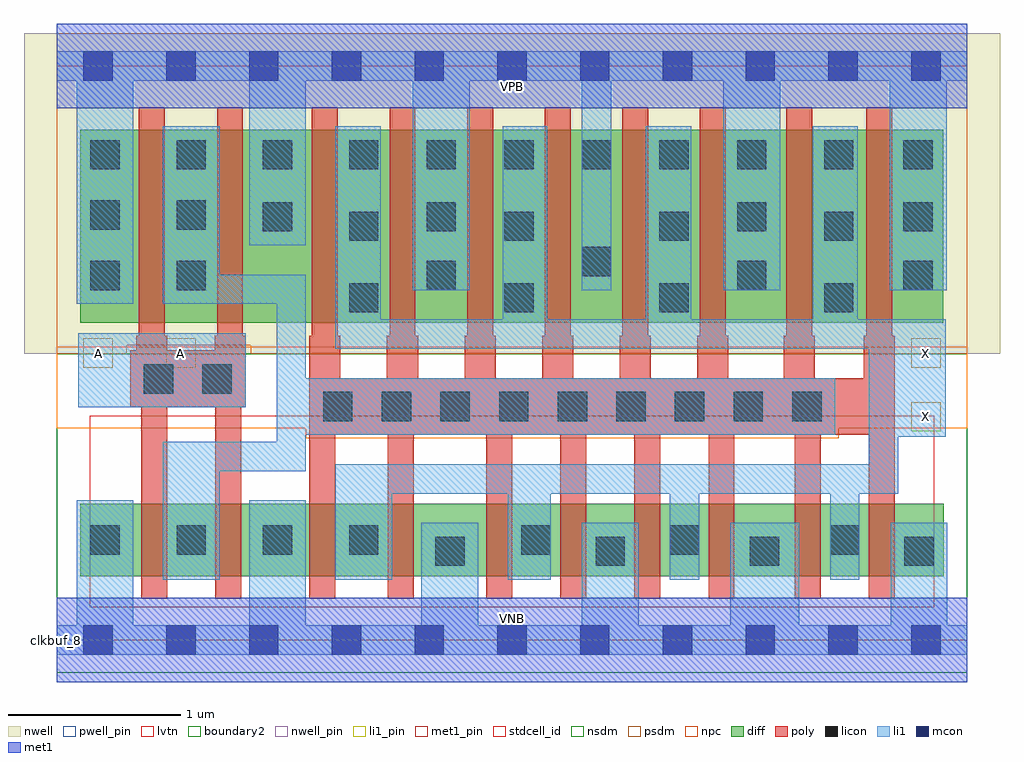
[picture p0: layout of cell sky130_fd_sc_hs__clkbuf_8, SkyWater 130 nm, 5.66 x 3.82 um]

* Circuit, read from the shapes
.subckt sky130_fd_sc_hs__clkbuf_8 A VGND VNB VPB VPWR X
XM1 n1 A VGND VNB sky130_fd_pr__nfet_01v8_lvt w=0.42 l=0.15 m=2
XM2 X n1 VGND VNB sky130_fd_pr__nfet_01v8_lvt w=0.42 l=0.15 m=8
XM3 n1 A VPWR VPB sky130_fd_pr__pfet_01v8 w=1.12 l=0.15 m=2
XM4 X n1 VPWR VPB sky130_fd_pr__pfet_01v8 w=1.12 l=0.15 m=8
.ends

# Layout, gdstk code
import gdstk
lib = gdstk.Library(unit=1e-6, precision=1e-09)
def R(c, l, rs):  # rectangles x0, y0, x1, y1
    for r in rs: c.add(gdstk.rectangle(r[:2], r[2:], *l))
def A(c, l, x, y, w, h, nx, ny, dx, dy):  # array of equal rectangles
    R(c, l, [(x+i*dx, y+j*dy, x+i*dx+w, y+j*dy+h) for i in range(nx) for j in range(ny)])
def P(c, l, *ps):  # polygons
    for p in ps: c.add(gdstk.Polygon(p, *l))
nwell_pin = (64, 16)
nwell = (64, 20)
diff = (65, 20)
poly = (66, 20)
licon = (66, 44)
li1_pin = (67, 16)
li1 = (67, 20)
mcon = (67, 44)
met1_pin = (68, 16)
met1 = (68, 20)
stdcell_id = (81, 4)
nsdm = (93, 44)
psdm = (94, 20)
npc = (95, 20)
pwell_pin = (122, 16)
lvtn = (125, 44)
boundary2 = (236, 0)

sky130_fd_sc_hs__clkbuf_ = lib.new_cell('sky130_fd_sc_hs__clkbuf_8')
R(sky130_fd_sc_hs__clkbuf_, nwell_pin, [(0,3.085,5.28,3.33)])
R(sky130_fd_sc_hs__clkbuf_, nwell, [(-0.19,1.66,5.47,3.52)])
R(sky130_fd_sc_hs__clkbuf_, diff, [(0.135,0.37,5.145,0.79), (0.135,1.84,5.14,2.96)])
P(sky130_fd_sc_hs__clkbuf_, poly, [(1.095,1.765),(1.08,1.765),(1.08,3.09),(0.93,3.09),(0.93,1.765),(0.915,1.765),(0.915,1.68),(0.64,1.68),(0.64,1.765),(0.625,1.765),(0.625,3.09),(0.475,3.09),(0.475,1.765),(0.46,1.765),(0.46,1.68),(0.425,1.68),(0.425,1.35),(0.49,1.35),(0.49,0.24),(0.64,0.24),(0.64,1.35),(0.92,1.35),(0.92,0.24),(1.07,0.24),(1.07,1.35),(1.095,1.35)],
  [(4.86,1.765),(4.845,1.765),(4.845,3.09),(4.695,3.09),(4.695,1.765),(4.68,1.765),(4.68,1.52),(4.395,1.52),(4.395,1.765),(4.38,1.765),(4.38,3.09),(4.23,3.09),(4.23,1.765),(4.215,1.765),(4.215,1.52),(3.895,1.52),(3.895,1.765),(3.88,1.765),(3.88,3.09),(3.73,3.09),(3.73,1.765),(3.715,1.765),(3.715,1.52),(3.445,1.52),(3.445,1.765),(3.43,1.765),(3.43,3.09),(3.28,3.09),(3.28,1.765),(3.265,1.765),(3.265,1.52),(2.995,1.52),(2.995,1.765),(2.98,1.765),(2.98,3.09),(2.83,3.09),(2.83,1.765),(2.815,1.765),(2.815,1.52),(2.545,1.52),(2.545,1.765),(2.53,1.765),(2.53,3.09),(2.38,3.09),(2.38,1.765),(2.365,1.765),(2.365,1.52),(2.095,1.52),(2.095,1.765),(2.08,1.765),(2.08,3.09),(1.93,3.09),(1.93,1.765),(1.915,1.765),(1.915,1.52),(1.645,1.52),(1.645,1.765),(1.63,1.765),(1.63,3.09),(1.48,3.09),(1.48,1.765),(1.465,1.765),(1.465,0.24),(1.615,0.24),(1.615,1.19),(1.92,1.19),(1.92,0.24),(2.07,0.24),(2.07,1.19),(2.49,1.19),(2.49,0.24),(2.64,0.24),(2.64,1.19),(2.92,1.19),(2.92,0.24),(3.07,0.24),(3.07,1.19),(3.35,1.19),(3.35,0.24),(3.5,0.24),(3.5,1.19),(3.78,1.19),(3.78,0.24),(3.93,0.24),(3.93,1.19),(4.28,1.19),(4.28,0.24),(4.43,0.24),(4.43,1.19),(4.71,1.19),(4.71,0.24),(4.86,0.24)])
A(sky130_fd_sc_hs__clkbuf_, licon, 3.125, 0.43, 0.17, 0.17, 3, 1, 0.895, 0)
A(sky130_fd_sc_hs__clkbuf_, licon, 0.195, 0.495, 0.17, 0.17, 4, 2, 0.5, 2.235)
A(sky130_fd_sc_hs__clkbuf_, licon, 1.545, 1.27, 0.17, 0.17, 9, 1, 0.34, 0)
A(sky130_fd_sc_hs__clkbuf_, licon, 1.695, 1.9, 0.17, 0.17, 3, 2, 0.9, 0.415)
A(sky130_fd_sc_hs__clkbuf_, licon, 4.45, 1.9, 0.17, 0.17, 1, 3, 0, 0.415)
A(sky130_fd_sc_hs__clkbuf_, licon, 2.145, 2.73, 0.17, 0.17, 5, 1, 0.45, 0)
R(sky130_fd_sc_hs__clkbuf_, licon, [(2.195,0.43,2.365,0.6), (2.695,0.495,2.865,0.665), (3.555,0.495,3.725,0.665), (4.485,0.495,4.655,0.665), (0.505,1.43,0.675,1.6), (0.845,1.43,1.015,1.6), (0.195,2.03,0.365,2.2), (0.695,2.03,0.865,2.2), (2.145,2.03,2.315,2.2), (3.945,2.03,4.115,2.2), (4.91,2.03,5.08,2.2), (3.045,2.11,3.215,2.28), (1.195,2.37,1.365,2.54), (2.145,2.37,2.315,2.54), (3.945,2.37,4.115,2.54), (4.91,2.37,5.08,2.54), (0.195,2.38,0.365,2.55), (0.695,2.38,0.865,2.55), (4.91,2.73,5.08,2.9)])
R(sky130_fd_sc_hs__clkbuf_, li1_pin, [(4.955,1.21,5.125,1.38), (0.155,1.58,0.325,1.75), (0.635,1.58,0.805,1.75), (4.955,1.58,5.125,1.75)])
R(sky130_fd_sc_hs__clkbuf_, li1, [(0.125,1.35,1.095,1.78)])
P(sky130_fd_sc_hs__clkbuf_, li1, [(0,-0.085),(0,0.085),(0.115,0.085),(0.115,0.81),(0.445,0.81),(0.445,0.085),(1.115,0.085),(1.115,0.81),(1.445,0.81),(1.445,0.085),(2.115,0.085),(2.115,0.68),(2.445,0.68),(2.445,0.085),(3.045,0.085),(3.045,0.68),(3.375,0.68),(3.375,0.085),(3.905,0.085),(3.905,0.68),(4.305,0.68),(4.305,0.085),(4.835,0.085),(4.835,0.68),(5.165,0.68),(5.165,0.085),(5.28,0.085),(5.28,-0.085)],
  [(0,3.245),(0,3.415),(5.28,3.415),(5.28,3.245),(5.16,3.245),(5.16,2.03),(4.83,2.03),(4.83,3.245),(4.195,3.245),(4.195,2.03),(3.865,2.03),(3.865,3.245),(3.215,3.245),(3.215,2.03),(3.045,2.03),(3.045,3.245),(2.395,3.245),(2.395,2.03),(2.065,2.03),(2.065,3.245),(1.445,3.245),(1.445,2.29),(1.115,2.29),(1.115,3.245),(0.445,3.245),(0.445,1.95),(0.115,1.95),(0.115,3.245)],
  [(4.71,1.02),(4.71,1.69),(1.615,1.69),(1.615,2.98),(1.88,2.98),(1.88,1.86),(2.585,1.86),(2.585,2.98),(2.845,2.98),(2.845,1.86),(3.415,1.86),(3.415,2.98),(3.68,2.98),(3.68,1.86),(4.385,1.86),(4.385,2.98),(4.645,2.98),(4.645,1.86),(5.155,1.86),(5.155,1.18),(4.88,1.18),(4.88,0.85),(4.655,0.85),(4.655,0.35),(4.485,0.35),(4.485,0.85),(3.725,0.85),(3.725,0.35),(3.555,0.35),(3.555,0.85),(2.865,0.85),(2.865,0.35),(2.615,0.35),(2.615,0.85),(1.945,0.85),(1.945,0.35),(1.615,0.35),(1.615,1.02)],
  [(0.615,1.15),(1.275,1.15),(1.275,1.95),(0.615,1.95),(0.615,2.98),(0.945,2.98),(0.945,2.12),(1.445,2.12),(1.445,1.52),(4.515,1.52),(4.515,1.19),(1.445,1.19),(1.445,0.98),(0.945,0.98),(0.945,0.35),(0.615,0.35)])
A(sky130_fd_sc_hs__clkbuf_, mcon, 0.155, -0.085, 0.17, 0.17, 11, 2, 0.48, 3.33)
R(sky130_fd_sc_hs__clkbuf_, met1_pin, [(0,0,5.28,0.245), (0,3.085,5.28,3.33)])
R(sky130_fd_sc_hs__clkbuf_, met1, [(0,-0.245,5.28,0.245), (0,3.085,5.28,3.575)])
R(sky130_fd_sc_hs__clkbuf_, stdcell_id, [(0,0,5.28,3.33)])
R(sky130_fd_sc_hs__clkbuf_, nsdm, [(0,-0.19,5.28,1.66)])
P(sky130_fd_sc_hs__clkbuf_, psdm, [(5.28,3.52),(0,3.52),(0,1.66),(0.405,1.66),(0.405,1.71),(1.125,1.71),(1.125,1.66),(5.28,1.66)])
P(sky130_fd_sc_hs__clkbuf_, npc, [(5.28,1.7),(0,1.7),(0,1.23),(1.445,1.23),(1.445,1.17),(4.535,1.17),(4.535,1.23),(5.28,1.23)])
R(sky130_fd_sc_hs__clkbuf_, pwell_pin, [(0,0,5.28,0.245)])
R(sky130_fd_sc_hs__clkbuf_, lvtn, [(0.19,0.19,5.09,1.3)])
R(sky130_fd_sc_hs__clkbuf_, boundary2, [(0,0,5.28,3.33)])
sky130_fd_sc_hs__clkbuf_.add(gdstk.Label('clkbuf_8', (0,0), layer=83, texttype=44))
sky130_fd_sc_hs__clkbuf_.add(gdstk.Label('VNB', (2.64,0.123), layer=64, texttype=59))
sky130_fd_sc_hs__clkbuf_.add(gdstk.Label('VPB', (2.64,3.208), layer=64, texttype=5))
sky130_fd_sc_hs__clkbuf_.add(gdstk.Label('VPWR', (2.64,3.208), layer=68, texttype=5))
sky130_fd_sc_hs__clkbuf_.add(gdstk.Label('VGND', (2.64,0.123), layer=68, texttype=5))
sky130_fd_sc_hs__clkbuf_.add(gdstk.Label('X', (5.04,1.295), layer=67, texttype=5))
sky130_fd_sc_hs__clkbuf_.add(gdstk.Label('X', (5.04,1.665), layer=67, texttype=5))
sky130_fd_sc_hs__clkbuf_.add(gdstk.Label('A', (0.24,1.665), layer=67, texttype=5))
sky130_fd_sc_hs__clkbuf_.add(gdstk.Label('A', (0.72,1.665), layer=67, texttype=5))

lib.write_gds('sky130_fd_sc_hs__clkbuf_8.gds')
